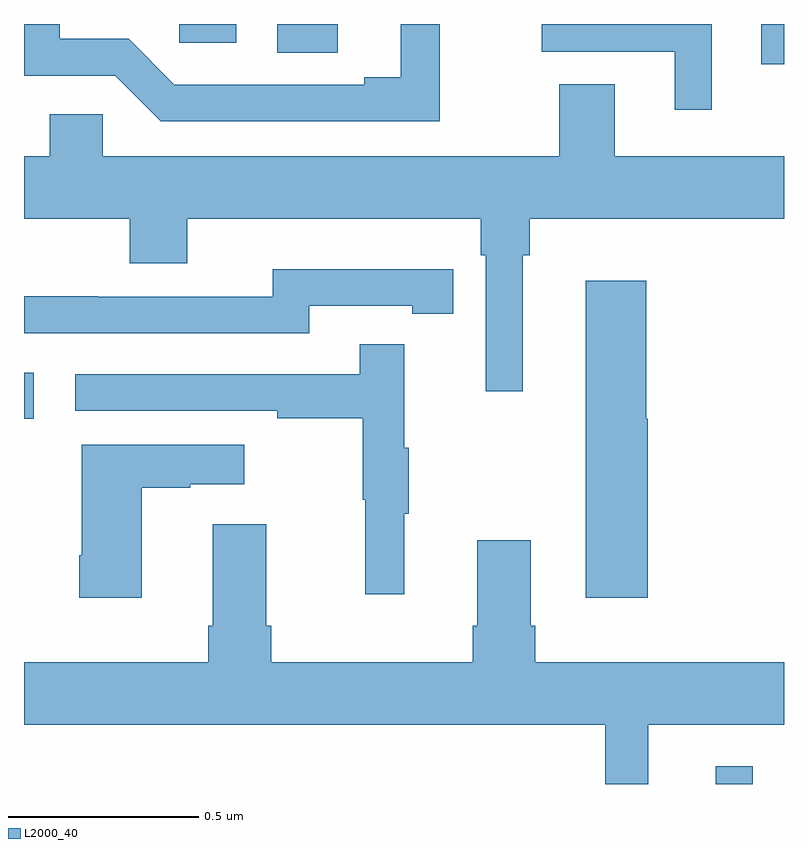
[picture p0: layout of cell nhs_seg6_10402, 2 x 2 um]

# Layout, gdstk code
import gdstk
lib = gdstk.Library(unit=1e-6, precision=1e-09)
def R(c, l, rs):  # rectangles x0, y0, x1, y1
    for r in rs: c.add(gdstk.rectangle(r[:2], r[2:], *l))
def P(c, l, *ps):  # polygons
    for p in ps: c.add(gdstk.Polygon(p, *l))
L2000_40 = (2000, 40)

nhs_seg6_10402 = lib.new_cell('nhs_seg6_10402')
R(nhs_seg6_10402, L2000_40, [(247.821,960.5,247.918,960.547), (246,961.461,246.025,961.582), (247.94,962.394,248,962.5), (246.666,962.425,246.826,962.5), (246.409,962.451,246.559,962.5)])
P(nhs_seg6_10402, L2000_40, [(247.094,962.5),(246.992,962.5),(246.992,962.36),(246.896,962.36),(246.896,962.34),(246.396,962.34),(246.275,962.461),(246.094,962.461),(246.094,962.5),(246,962.5),(246,962.364),(246.24,962.364),(246.36,962.244),(247.094,962.244)],
  [(247.81,962.5),(247.363,962.5),(247.363,962.427),(247.712,962.427),(247.712,962.274),(247.81,962.274)],
  [(247.312,961.892),(247.331,961.892),(247.331,961.988),(248,961.988),(248,962.152),(247.555,962.152),(247.555,962.342),(247.408,962.342),(247.408,962.152),(246.207,962.152),(246.207,962.262),(246.068,962.262),(246.068,962.152),(246,962.152),(246,961.988),(246.278,961.988),(246.278,961.871),(246.43,961.871),(246.43,961.988),(247.202,961.988),(247.202,961.892),(247.215,961.892),(247.215,961.533),(247.312,961.533)],
  [(246.75,961.758),(247.022,961.758),(247.022,961.738),(247.13,961.738),(247.13,961.854),(247.022,961.854),(247.022,961.855),(246.654,961.855),(246.654,961.782),(246.194,961.782),(246.194,961.784),(246,961.784),(246,961.686),(246.75,961.686)],
  [(247.642,961.461),(247.637,961.461),(247.637,961.825),(247.478,961.825),(247.478,960.99),(247.642,960.99)],
  [(247.001,961.211),(247.012,961.211),(247.012,961.385),(247.001,961.385),(247.001,961.657),(246.883,961.657),(246.883,961.578),(246.135,961.578),(246.135,961.482),(246.667,961.482),(246.667,961.462),(246.891,961.462),(246.891,961.248),(246.898,961.248),(246.898,960.999),(247.001,960.999)],
  [(246.31,961.279),(246.437,961.279),(246.437,961.289),(246.58,961.289),(246.58,961.393),(246.152,961.393),(246.152,961.102),(246.145,961.102),(246.145,960.99),(246.31,960.99)],
  [(247.643,960.656),(248,960.656),(248,960.82),(247.346,960.82),(247.346,960.916),(247.333,960.916),(247.333,961.141),(247.193,961.141),(247.193,960.916),(247.181,960.916),(247.181,960.82),(246.65,960.82),(246.65,960.916),(246.637,960.916),(246.637,961.183),(246.497,961.183),(246.497,960.916),(246.485,960.916),(246.485,960.82),(246,960.82),(246,960.656),(247.529,960.656),(247.529,960.5),(247.643,960.5)])

lib.write_gds('nhs_seg6_10402.gds')
